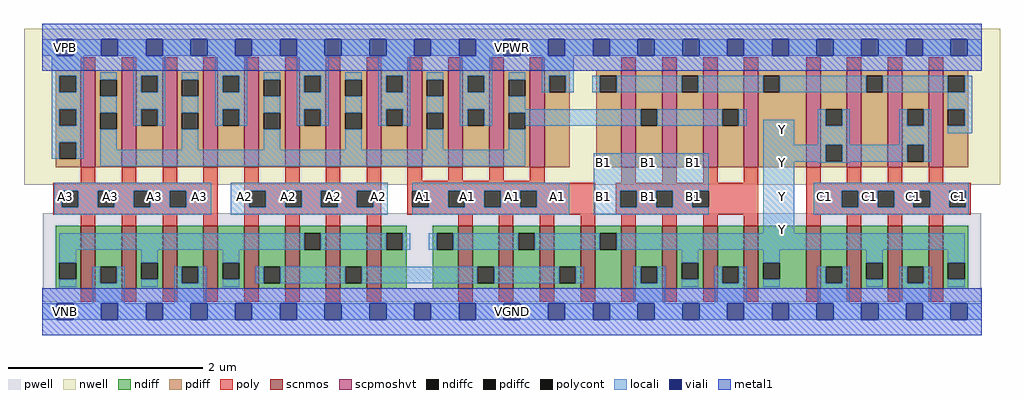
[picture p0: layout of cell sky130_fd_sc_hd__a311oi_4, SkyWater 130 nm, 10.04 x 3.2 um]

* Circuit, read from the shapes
.subckt sky130_fd_sc_hd__a311oi_4 A1 A2 A3 B1 C1 VGND VNB VPB VPWR Y
XM1 VGND A3 n1 VNB sky130_fd_pr__nfet_01v8 w=0.65 l=0.15 m=4
XM2 n2 A2 n1 VNB sky130_fd_pr__nfet_01v8 w=0.65 l=0.15 m=4
XM3 n2 A1 Y VNB sky130_fd_pr__nfet_01v8 w=0.65 l=0.15 m=4
XM4 VGND B1 Y VNB sky130_fd_pr__nfet_01v8 w=0.65 l=0.15 m=4
XM5 VGND C1 Y VNB sky130_fd_pr__nfet_01v8 w=0.65 l=0.15 m=4
XM6 n3 A3 VPWR VPB sky130_fd_pr__pfet_01v8_hvt w=1 l=0.15 m=4
XM7 n3 A2 VPWR VPB sky130_fd_pr__pfet_01v8_hvt w=1 l=0.15 m=4
XM8 n3 A1 VPWR VPB sky130_fd_pr__pfet_01v8_hvt w=1 l=0.15 m=4
XM9 n3 B1 n4 VPB sky130_fd_pr__pfet_01v8_hvt w=1 l=0.15 m=4
XM10 Y C1 n4 VPB sky130_fd_pr__pfet_01v8_hvt w=1 l=0.15 m=4
.ends

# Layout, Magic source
magic
tech sky130B
magscale 1 2
<< nwell >>
rect -38 261 1970 582
<< pwell >>
rect 1 21 1931 203
rect 30 -17 64 21
<< scnmos >>
rect 79 47 109 177
rect 163 47 193 177
rect 247 47 277 177
rect 331 47 361 177
rect 415 47 445 177
rect 499 47 529 177
rect 583 47 613 177
rect 667 47 697 177
rect 855 47 885 177
rect 939 47 969 177
rect 1023 47 1053 177
rect 1107 47 1137 177
rect 1191 47 1221 177
rect 1275 47 1305 177
rect 1359 47 1389 177
rect 1443 47 1473 177
rect 1571 47 1601 177
rect 1655 47 1685 177
rect 1739 47 1769 177
rect 1823 47 1853 177
<< scpmoshvt >>
rect 79 297 109 497
rect 163 297 193 497
rect 247 297 277 497
rect 331 297 361 497
rect 415 297 445 497
rect 499 297 529 497
rect 583 297 613 497
rect 667 297 697 497
rect 751 297 781 497
rect 835 297 865 497
rect 919 297 949 497
rect 1003 297 1033 497
rect 1191 297 1221 497
rect 1275 297 1305 497
rect 1359 297 1389 497
rect 1443 297 1473 497
rect 1571 297 1601 497
rect 1655 297 1685 497
rect 1739 297 1769 497
rect 1823 297 1853 497
<< ndiff >>
rect 27 101 79 177
rect 27 67 35 101
rect 69 67 79 101
rect 27 47 79 67
rect 109 93 163 177
rect 109 59 119 93
rect 153 59 163 93
rect 109 47 163 59
rect 193 101 247 177
rect 193 67 203 101
rect 237 67 247 101
rect 193 47 247 67
rect 277 93 331 177
rect 277 59 287 93
rect 321 59 331 93
rect 277 47 331 59
rect 361 101 415 177
rect 361 67 371 101
rect 405 67 415 101
rect 361 47 415 67
rect 445 93 499 177
rect 445 59 455 93
rect 489 59 499 93
rect 445 47 499 59
rect 529 161 583 177
rect 529 127 539 161
rect 573 127 583 161
rect 529 47 583 127
rect 613 93 667 177
rect 613 59 623 93
rect 657 59 667 93
rect 613 47 667 59
rect 697 161 749 177
rect 697 127 707 161
rect 741 127 749 161
rect 697 47 749 127
rect 803 161 855 177
rect 803 127 811 161
rect 845 127 855 161
rect 803 47 855 127
rect 885 93 939 177
rect 885 59 895 93
rect 929 59 939 93
rect 885 47 939 59
rect 969 161 1023 177
rect 969 127 979 161
rect 1013 127 1023 161
rect 969 47 1023 127
rect 1053 93 1107 177
rect 1053 59 1063 93
rect 1097 59 1107 93
rect 1053 47 1107 59
rect 1137 161 1191 177
rect 1137 127 1147 161
rect 1181 127 1191 161
rect 1137 47 1191 127
rect 1221 93 1275 177
rect 1221 59 1231 93
rect 1265 59 1275 93
rect 1221 47 1275 59
rect 1305 101 1359 177
rect 1305 67 1315 101
rect 1349 67 1359 101
rect 1305 47 1359 67
rect 1389 93 1443 177
rect 1389 59 1399 93
rect 1433 59 1443 93
rect 1389 47 1443 59
rect 1473 101 1571 177
rect 1473 67 1483 101
rect 1517 67 1571 101
rect 1473 47 1571 67
rect 1601 93 1655 177
rect 1601 59 1611 93
rect 1645 59 1655 93
rect 1601 47 1655 59
rect 1685 101 1739 177
rect 1685 67 1695 101
rect 1729 67 1739 101
rect 1685 47 1739 67
rect 1769 93 1823 177
rect 1769 59 1779 93
rect 1813 59 1823 93
rect 1769 47 1823 59
rect 1853 101 1905 177
rect 1853 67 1863 101
rect 1897 67 1905 101
rect 1853 47 1905 67
<< pdiff >>
rect 27 485 79 497
rect 27 451 35 485
rect 69 451 79 485
rect 27 417 79 451
rect 27 383 35 417
rect 69 383 79 417
rect 27 349 79 383
rect 27 315 35 349
rect 69 315 79 349
rect 27 297 79 315
rect 109 477 163 497
rect 109 443 119 477
rect 153 443 163 477
rect 109 409 163 443
rect 109 375 119 409
rect 153 375 163 409
rect 109 297 163 375
rect 193 485 247 497
rect 193 451 203 485
rect 237 451 247 485
rect 193 417 247 451
rect 193 383 203 417
rect 237 383 247 417
rect 193 297 247 383
rect 277 477 331 497
rect 277 443 287 477
rect 321 443 331 477
rect 277 409 331 443
rect 277 375 287 409
rect 321 375 331 409
rect 277 297 331 375
rect 361 485 415 497
rect 361 451 371 485
rect 405 451 415 485
rect 361 417 415 451
rect 361 383 371 417
rect 405 383 415 417
rect 361 297 415 383
rect 445 477 499 497
rect 445 443 455 477
rect 489 443 499 477
rect 445 409 499 443
rect 445 375 455 409
rect 489 375 499 409
rect 445 297 499 375
rect 529 485 583 497
rect 529 451 539 485
rect 573 451 583 485
rect 529 417 583 451
rect 529 383 539 417
rect 573 383 583 417
rect 529 297 583 383
rect 613 477 667 497
rect 613 443 623 477
rect 657 443 667 477
rect 613 409 667 443
rect 613 375 623 409
rect 657 375 667 409
rect 613 297 667 375
rect 697 485 751 497
rect 697 451 707 485
rect 741 451 751 485
rect 697 417 751 451
rect 697 383 707 417
rect 741 383 751 417
rect 697 297 751 383
rect 781 477 835 497
rect 781 443 791 477
rect 825 443 835 477
rect 781 409 835 443
rect 781 375 791 409
rect 825 375 835 409
rect 781 297 835 375
rect 865 485 919 497
rect 865 451 875 485
rect 909 451 919 485
rect 865 417 919 451
rect 865 383 875 417
rect 909 383 919 417
rect 865 297 919 383
rect 949 477 1003 497
rect 949 443 959 477
rect 993 443 1003 477
rect 949 409 1003 443
rect 949 375 959 409
rect 993 375 1003 409
rect 949 297 1003 375
rect 1033 485 1085 497
rect 1033 451 1043 485
rect 1077 451 1085 485
rect 1033 297 1085 451
rect 1139 485 1191 497
rect 1139 451 1147 485
rect 1181 451 1191 485
rect 1139 297 1191 451
rect 1221 417 1275 497
rect 1221 383 1231 417
rect 1265 383 1275 417
rect 1221 297 1275 383
rect 1305 485 1359 497
rect 1305 451 1315 485
rect 1349 451 1359 485
rect 1305 297 1359 451
rect 1389 417 1443 497
rect 1389 383 1399 417
rect 1433 383 1443 417
rect 1389 297 1443 383
rect 1473 485 1571 497
rect 1473 451 1483 485
rect 1517 451 1571 485
rect 1473 297 1571 451
rect 1601 417 1655 497
rect 1601 383 1611 417
rect 1645 383 1655 417
rect 1601 343 1655 383
rect 1601 309 1611 343
rect 1645 309 1655 343
rect 1601 297 1655 309
rect 1685 485 1739 497
rect 1685 451 1695 485
rect 1729 451 1739 485
rect 1685 297 1739 451
rect 1769 417 1823 497
rect 1769 383 1779 417
rect 1813 383 1823 417
rect 1769 343 1823 383
rect 1769 309 1779 343
rect 1813 309 1823 343
rect 1769 297 1823 309
rect 1853 485 1905 497
rect 1853 451 1863 485
rect 1897 451 1905 485
rect 1853 417 1905 451
rect 1853 383 1863 417
rect 1897 383 1905 417
rect 1853 297 1905 383
<< ndiffc >>
rect 35 67 69 101
rect 119 59 153 93
rect 203 67 237 101
rect 287 59 321 93
rect 371 67 405 101
rect 455 59 489 93
rect 539 127 573 161
rect 623 59 657 93
rect 707 127 741 161
rect 811 127 845 161
rect 895 59 929 93
rect 979 127 1013 161
rect 1063 59 1097 93
rect 1147 127 1181 161
rect 1231 59 1265 93
rect 1315 67 1349 101
rect 1399 59 1433 93
rect 1483 67 1517 101
rect 1611 59 1645 93
rect 1695 67 1729 101
rect 1779 59 1813 93
rect 1863 67 1897 101
<< pdiffc >>
rect 35 451 69 485
rect 35 383 69 417
rect 35 315 69 349
rect 119 443 153 477
rect 119 375 153 409
rect 203 451 237 485
rect 203 383 237 417
rect 287 443 321 477
rect 287 375 321 409
rect 371 451 405 485
rect 371 383 405 417
rect 455 443 489 477
rect 455 375 489 409
rect 539 451 573 485
rect 539 383 573 417
rect 623 443 657 477
rect 623 375 657 409
rect 707 451 741 485
rect 707 383 741 417
rect 791 443 825 477
rect 791 375 825 409
rect 875 451 909 485
rect 875 383 909 417
rect 959 443 993 477
rect 959 375 993 409
rect 1043 451 1077 485
rect 1147 451 1181 485
rect 1231 383 1265 417
rect 1315 451 1349 485
rect 1399 383 1433 417
rect 1483 451 1517 485
rect 1611 383 1645 417
rect 1611 309 1645 343
rect 1695 451 1729 485
rect 1779 383 1813 417
rect 1779 309 1813 343
rect 1863 451 1897 485
rect 1863 383 1897 417
<< poly >>
rect 79 497 109 523
rect 163 497 193 523
rect 247 497 277 523
rect 331 497 361 523
rect 415 497 445 523
rect 499 497 529 523
rect 583 497 613 523
rect 667 497 697 523
rect 751 497 781 523
rect 835 497 865 523
rect 919 497 949 523
rect 1003 497 1033 523
rect 1191 497 1221 523
rect 1275 497 1305 523
rect 1359 497 1389 523
rect 1443 497 1473 523
rect 1571 497 1601 523
rect 1655 497 1685 523
rect 1739 497 1769 523
rect 1823 497 1853 523
rect 79 265 109 297
rect 163 265 193 297
rect 247 265 277 297
rect 331 265 361 297
rect 22 249 361 265
rect 22 215 40 249
rect 74 215 114 249
rect 148 215 188 249
rect 222 215 262 249
rect 296 215 361 249
rect 22 199 361 215
rect 79 177 109 199
rect 163 177 193 199
rect 247 177 277 199
rect 331 177 361 199
rect 415 265 445 297
rect 499 265 529 297
rect 583 265 613 297
rect 667 265 697 297
rect 415 249 697 265
rect 415 215 425 249
rect 459 215 499 249
rect 533 215 573 249
rect 607 215 647 249
rect 681 215 697 249
rect 415 199 697 215
rect 751 269 781 297
rect 835 269 865 297
rect 919 269 949 297
rect 1003 269 1033 297
rect 751 265 1033 269
rect 1191 265 1221 297
rect 1275 265 1305 297
rect 1359 265 1389 297
rect 1443 265 1473 297
rect 751 249 1137 265
rect 751 215 761 249
rect 795 215 835 249
rect 869 215 909 249
rect 943 215 983 249
rect 1017 215 1137 249
rect 751 199 1137 215
rect 1179 249 1473 265
rect 1179 215 1189 249
rect 1223 215 1263 249
rect 1297 215 1337 249
rect 1371 215 1473 249
rect 1179 199 1473 215
rect 415 177 445 199
rect 499 177 529 199
rect 583 177 613 199
rect 667 177 697 199
rect 855 177 885 199
rect 939 177 969 199
rect 1023 177 1053 199
rect 1107 177 1137 199
rect 1191 177 1221 199
rect 1275 177 1305 199
rect 1359 177 1389 199
rect 1443 177 1473 199
rect 1571 265 1601 297
rect 1655 265 1685 297
rect 1739 265 1769 297
rect 1823 265 1853 297
rect 1571 249 1910 265
rect 1571 215 1644 249
rect 1678 215 1718 249
rect 1752 215 1792 249
rect 1826 215 1866 249
rect 1900 215 1910 249
rect 1571 199 1910 215
rect 1571 177 1601 199
rect 1655 177 1685 199
rect 1739 177 1769 199
rect 1823 177 1853 199
rect 79 21 109 47
rect 163 21 193 47
rect 247 21 277 47
rect 331 21 361 47
rect 415 21 445 47
rect 499 21 529 47
rect 583 21 613 47
rect 667 21 697 47
rect 855 21 885 47
rect 939 21 969 47
rect 1023 21 1053 47
rect 1107 21 1137 47
rect 1191 21 1221 47
rect 1275 21 1305 47
rect 1359 21 1389 47
rect 1443 21 1473 47
rect 1571 21 1601 47
rect 1655 21 1685 47
rect 1739 21 1769 47
rect 1823 21 1853 47
<< polycont >>
rect 40 215 74 249
rect 114 215 148 249
rect 188 215 222 249
rect 262 215 296 249
rect 425 215 459 249
rect 499 215 533 249
rect 573 215 607 249
rect 647 215 681 249
rect 761 215 795 249
rect 835 215 869 249
rect 909 215 943 249
rect 983 215 1017 249
rect 1189 215 1223 249
rect 1263 215 1297 249
rect 1337 215 1371 249
rect 1644 215 1678 249
rect 1718 215 1752 249
rect 1792 215 1826 249
rect 1866 215 1900 249
<< locali >>
rect 0 527 29 561
rect 63 527 121 561
rect 155 527 213 561
rect 247 527 305 561
rect 339 527 397 561
rect 431 527 489 561
rect 523 527 581 561
rect 615 527 673 561
rect 707 527 765 561
rect 799 527 857 561
rect 891 527 949 561
rect 983 527 1041 561
rect 1075 527 1133 561
rect 1167 527 1225 561
rect 1259 527 1317 561
rect 1351 527 1409 561
rect 1443 527 1501 561
rect 1535 527 1593 561
rect 1627 527 1685 561
rect 1719 527 1777 561
rect 1811 527 1869 561
rect 1903 527 1932 561
rect 19 485 85 527
rect 19 451 35 485
rect 69 451 85 485
rect 19 417 85 451
rect 19 383 35 417
rect 69 383 85 417
rect 19 349 85 383
rect 19 315 35 349
rect 69 315 85 349
rect 119 477 153 493
rect 119 409 153 443
rect 187 485 253 527
rect 187 451 203 485
rect 237 451 253 485
rect 187 417 253 451
rect 187 383 203 417
rect 237 383 253 417
rect 287 477 321 493
rect 287 409 321 443
rect 119 333 153 375
rect 355 485 421 527
rect 355 451 371 485
rect 405 451 421 485
rect 355 417 421 451
rect 355 383 371 417
rect 405 383 421 417
rect 455 477 489 493
rect 455 409 489 443
rect 287 333 321 375
rect 523 485 589 527
rect 523 451 539 485
rect 573 451 589 485
rect 523 417 589 451
rect 523 383 539 417
rect 573 383 589 417
rect 623 477 657 493
rect 623 409 657 443
rect 455 333 489 375
rect 691 485 757 527
rect 691 451 707 485
rect 741 451 757 485
rect 691 417 757 451
rect 691 383 707 417
rect 741 383 757 417
rect 791 477 825 493
rect 791 409 825 443
rect 623 333 657 375
rect 859 485 925 527
rect 859 451 875 485
rect 909 451 925 485
rect 859 417 925 451
rect 859 383 875 417
rect 909 383 925 417
rect 959 477 993 493
rect 1027 485 1093 527
rect 1027 451 1043 485
rect 1077 451 1093 485
rect 1131 451 1147 485
rect 1181 451 1315 485
rect 1349 451 1483 485
rect 1517 451 1695 485
rect 1729 451 1863 485
rect 1897 451 1913 485
rect 959 417 993 443
rect 1863 417 1913 451
rect 959 409 1231 417
rect 791 333 825 375
rect 993 383 1231 409
rect 1265 383 1399 417
rect 1433 383 1449 417
rect 959 333 993 375
rect 119 299 993 333
rect 1483 343 1547 395
rect 1595 383 1611 417
rect 1645 383 1661 417
rect 1595 343 1661 383
rect 1763 383 1779 417
rect 1813 383 1829 417
rect 1763 343 1829 383
rect 1897 383 1913 417
rect 1863 367 1913 383
rect 24 249 347 265
rect 24 215 40 249
rect 74 215 114 249
rect 148 215 188 249
rect 222 215 262 249
rect 296 215 347 249
rect 24 199 347 215
rect 387 249 710 265
rect 387 215 425 249
rect 459 215 499 249
rect 533 215 573 249
rect 607 215 647 249
rect 681 215 710 249
rect 387 199 710 215
rect 761 249 1084 265
rect 795 215 835 249
rect 869 215 909 249
rect 943 215 983 249
rect 1017 215 1084 249
rect 761 199 1084 215
rect 1134 249 1371 326
rect 1134 215 1189 249
rect 1223 215 1263 249
rect 1297 215 1337 249
rect 1134 199 1371 215
rect 1483 309 1611 343
rect 1645 309 1779 343
rect 1813 309 1829 343
rect 1483 161 1547 309
rect 1595 306 1661 309
rect 1587 249 1906 265
rect 1587 215 1644 249
rect 1678 215 1718 249
rect 1752 215 1792 249
rect 1826 215 1866 249
rect 1900 215 1906 249
rect 1587 199 1906 215
rect 35 127 539 161
rect 573 127 707 161
rect 741 127 757 161
rect 795 127 811 161
rect 845 127 979 161
rect 1013 127 1147 161
rect 1181 127 1897 161
rect 35 101 69 127
rect 203 101 237 127
rect 35 51 69 67
rect 103 59 119 93
rect 153 59 169 93
rect 103 17 169 59
rect 371 101 405 127
rect 203 51 237 67
rect 271 59 287 93
rect 321 59 337 93
rect 271 17 337 59
rect 1315 101 1349 127
rect 371 51 405 67
rect 439 59 455 93
rect 489 59 623 93
rect 657 59 895 93
rect 929 59 1063 93
rect 1097 59 1113 93
rect 1215 59 1231 93
rect 1265 59 1281 93
rect 1215 17 1281 59
rect 1483 101 1517 127
rect 1315 51 1349 67
rect 1383 59 1399 93
rect 1433 59 1449 93
rect 1383 17 1449 59
rect 1695 101 1729 127
rect 1483 51 1517 67
rect 1595 59 1611 93
rect 1645 59 1661 93
rect 1595 17 1661 59
rect 1863 101 1897 127
rect 1695 51 1729 67
rect 1763 59 1779 93
rect 1813 59 1829 93
rect 1763 17 1829 59
rect 1863 51 1897 67
rect 0 -17 29 17
rect 63 -17 121 17
rect 155 -17 213 17
rect 247 -17 305 17
rect 339 -17 397 17
rect 431 -17 489 17
rect 523 -17 581 17
rect 615 -17 673 17
rect 707 -17 765 17
rect 799 -17 857 17
rect 891 -17 949 17
rect 983 -17 1041 17
rect 1075 -17 1133 17
rect 1167 -17 1225 17
rect 1259 -17 1317 17
rect 1351 -17 1409 17
rect 1443 -17 1501 17
rect 1535 -17 1593 17
rect 1627 -17 1685 17
rect 1719 -17 1777 17
rect 1811 -17 1869 17
rect 1903 -17 1932 17
<< viali >>
rect 29 527 63 561
rect 121 527 155 561
rect 213 527 247 561
rect 305 527 339 561
rect 397 527 431 561
rect 489 527 523 561
rect 581 527 615 561
rect 673 527 707 561
rect 765 527 799 561
rect 857 527 891 561
rect 949 527 983 561
rect 1041 527 1075 561
rect 1133 527 1167 561
rect 1225 527 1259 561
rect 1317 527 1351 561
rect 1409 527 1443 561
rect 1501 527 1535 561
rect 1593 527 1627 561
rect 1685 527 1719 561
rect 1777 527 1811 561
rect 1869 527 1903 561
rect 29 -17 63 17
rect 121 -17 155 17
rect 213 -17 247 17
rect 305 -17 339 17
rect 397 -17 431 17
rect 489 -17 523 17
rect 581 -17 615 17
rect 673 -17 707 17
rect 765 -17 799 17
rect 857 -17 891 17
rect 949 -17 983 17
rect 1041 -17 1075 17
rect 1133 -17 1167 17
rect 1225 -17 1259 17
rect 1317 -17 1351 17
rect 1409 -17 1443 17
rect 1501 -17 1535 17
rect 1593 -17 1627 17
rect 1685 -17 1719 17
rect 1777 -17 1811 17
rect 1869 -17 1903 17
<< metal1 >>
rect 0 561 1932 592
rect 0 527 29 561
rect 63 527 121 561
rect 155 527 213 561
rect 247 527 305 561
rect 339 527 397 561
rect 431 527 489 561
rect 523 527 581 561
rect 615 527 673 561
rect 707 527 765 561
rect 799 527 857 561
rect 891 527 949 561
rect 983 527 1041 561
rect 1075 527 1133 561
rect 1167 527 1225 561
rect 1259 527 1317 561
rect 1351 527 1409 561
rect 1443 527 1501 561
rect 1535 527 1593 561
rect 1627 527 1685 561
rect 1719 527 1777 561
rect 1811 527 1869 561
rect 1903 527 1932 561
rect 0 496 1932 527
rect 0 17 1932 48
rect 0 -17 29 17
rect 63 -17 121 17
rect 155 -17 213 17
rect 247 -17 305 17
rect 339 -17 397 17
rect 431 -17 489 17
rect 523 -17 581 17
rect 615 -17 673 17
rect 707 -17 765 17
rect 799 -17 857 17
rect 891 -17 949 17
rect 983 -17 1041 17
rect 1075 -17 1133 17
rect 1167 -17 1225 17
rect 1259 -17 1317 17
rect 1351 -17 1409 17
rect 1443 -17 1501 17
rect 1535 -17 1593 17
rect 1627 -17 1685 17
rect 1719 -17 1777 17
rect 1811 -17 1869 17
rect 1903 -17 1932 17
rect 0 -48 1932 -17
<< labels >>
flabel locali s 1506 153 1540 187 0 FreeSans 200 0 0 0 Y
port 10 nsew signal output
flabel locali s 1138 289 1172 323 0 FreeSans 200 0 0 0 B1
port 4 nsew signal input
flabel locali s 766 221 800 255 0 FreeSans 200 0 0 0 A1
port 1 nsew signal input
flabel locali s 306 221 340 255 0 FreeSans 200 0 0 0 A3
port 3 nsew signal input
flabel locali s 1506 221 1540 255 0 FreeSans 200 0 0 0 Y
port 10 nsew signal output
flabel locali s 1506 357 1540 391 0 FreeSans 200 0 0 0 Y
port 10 nsew signal output
flabel locali s 1506 289 1540 323 0 FreeSans 200 0 0 0 Y
port 10 nsew signal output
flabel locali s 1592 221 1626 255 0 FreeSans 200 0 0 0 C1
port 5 nsew signal input
flabel locali s 1684 221 1718 255 0 FreeSans 200 0 0 0 C1
port 5 nsew signal input
flabel locali s 1776 221 1810 255 0 FreeSans 200 0 0 0 C1
port 5 nsew signal input
flabel locali s 1868 221 1902 255 0 FreeSans 200 0 0 0 C1
port 5 nsew signal input
flabel locali s 1138 221 1172 255 0 FreeSans 200 0 0 0 B1
port 4 nsew signal input
flabel locali s 1322 289 1356 323 0 FreeSans 200 0 0 0 B1
port 4 nsew signal input
flabel locali s 1230 289 1264 323 0 FreeSans 200 0 0 0 B1
port 4 nsew signal input
flabel locali s 1322 221 1356 255 0 FreeSans 200 0 0 0 B1
port 4 nsew signal input
flabel locali s 1230 221 1264 255 0 FreeSans 200 0 0 0 B1
port 4 nsew signal input
flabel locali s 582 221 616 255 0 FreeSans 200 0 0 0 A2
port 2 nsew signal input
flabel locali s 490 221 524 255 0 FreeSans 200 0 0 0 A2
port 2 nsew signal input
flabel locali s 398 221 432 255 0 FreeSans 200 0 0 0 A2
port 2 nsew signal input
flabel locali s 1042 221 1076 255 0 FreeSans 200 0 0 0 A1
port 1 nsew signal input
flabel locali s 214 221 248 255 0 FreeSans 200 0 0 0 A3
port 3 nsew signal input
flabel locali s 122 221 156 255 0 FreeSans 200 0 0 0 A3
port 3 nsew signal input
flabel locali s 30 221 64 255 0 FreeSans 200 0 0 0 A3
port 3 nsew signal input
flabel locali s 674 221 708 255 0 FreeSans 200 0 0 0 A2
port 2 nsew signal input
flabel locali s 950 221 984 255 0 FreeSans 200 0 0 0 A1
port 1 nsew signal input
flabel locali s 858 221 892 255 0 FreeSans 200 0 0 0 A1
port 1 nsew signal input
flabel pwell s 30 -17 64 17 0 FreeSans 200 0 0 0 VNB
port 7 nsew ground bidirectional
flabel nwell s 30 527 64 561 0 FreeSans 200 0 0 0 VPB
port 8 nsew power bidirectional
flabel metal1 s 30 527 64 561 0 FreeSans 200 0 0 0 VPWR
port 9 nsew power bidirectional abutment
flabel metal1 s 30 -17 64 17 0 FreeSans 200 0 0 0 VGND
port 6 nsew ground bidirectional abutment
rlabel comment s 0 0 0 0 4 a311oi_4
rlabel metal1 s 0 -48 1932 48 1 VGND
port 6 nsew ground bidirectional abutment
rlabel metal1 s 0 496 1932 592 1 VPWR
port 9 nsew power bidirectional abutment
<< properties >>
string FIXED_BBOX 0 0 1932 544
string GDS_END 3733318
string GDS_FILE $PDKPATH/libs.ref/sky130_fd_sc_hd/gds/sky130_fd_sc_hd.gds
string GDS_START 3717772
string LEFclass CORE
string LEFsite unithd
string LEFsymmetry X Y R90
string path 0.000 0.000 48.300 0.000 
<< end >>
